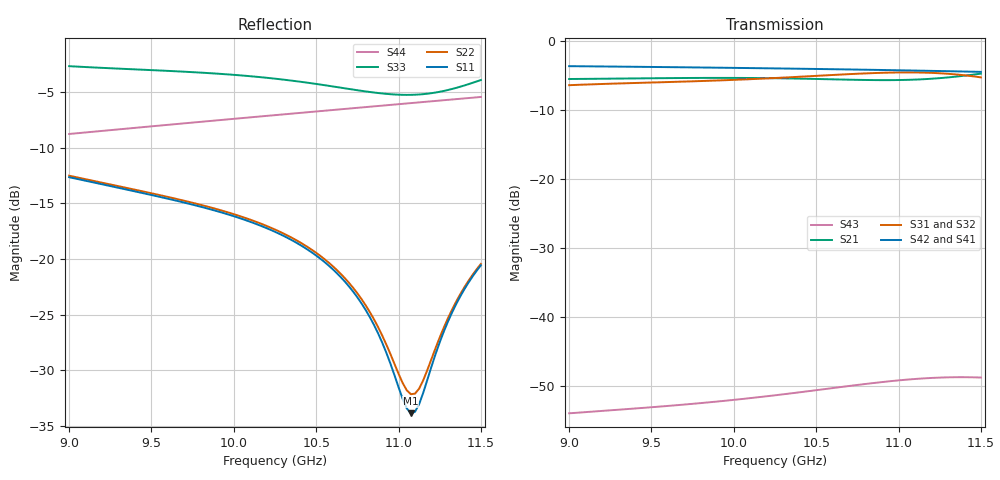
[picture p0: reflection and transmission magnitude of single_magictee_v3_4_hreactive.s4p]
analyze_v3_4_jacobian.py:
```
#!/usr/bin/env python3
"""
Analyze the v3.4 9-case central-difference program.

The H/even block uses the parity basis:
    c+ = (P1 + P2)/sqrt(2)
    c- = (P1 - P2)/sqrt(2)
    H  = P3
    E  = P4

Feature vector:
    F = [Re(Gamma0), Im(Gamma0), Re(Gamma1), Im(Gamma1)]^T

where Gamma0 is c+ reflection at f0=10.25 GHz and Gamma1 is the centered
frequency derivative. The script forms the 4x4 parameter Jacobian, reports
raw and step-normalized SVDs, and computes a local Newton suggestion without
automatically changing geometry.
"""

from __future__ import annotations

import argparse
import json
import math
from pathlib import Path

import numpy as np


CENTER = {
    "h_throat_a": 20.4,
    "h_throat_len": 5.5,
    "h_cap_height": 9.0,
    "h_terminal_ridge_w": 4.572,
}

DELTAS = {
    "h_throat_a": 0.4,
    "h_throat_len": 1.0,
    "h_cap_height": 0.4,
    "h_terminal_ridge_w": 0.5,
}

PARAMS = list(CENTER)

W = np.array(
    [
        [1 / math.sqrt(2), 1 / math.sqrt(2), 0, 0],
        [1 / math.sqrt(2), -1 / math.sqrt(2), 0, 0],
        [0, 0, 1, 0],
        [0, 0, 0, 1],
    ],
    dtype=complex,
)


def parse_touchstone_ma(path: Path):
    numbers = []
    option = ""
    for raw in path.read_text(encoding="utf-8", errors="replace").splitlines():
        line = raw.split("!", 1)[0].strip()
        if not line:
            continue
        if line.startswith("#"):
            option = line.upper()
            continue
        numbers.extend(float(token) for token in line.split())

    if "MA" not in option:
        raise ValueError(f"Only magnitude-angle Touchstone is supported: {option}")

    record_size = 1 + 2 * 16
    if len(numbers) % record_size:
        raise ValueError(f"Unexpected numeric count in {path}")

    records = []
    for start in range(0, len(numbers), record_size):
        row = numbers[start : start + record_size]
        freq = row[0]
        s = np.zeros((4, 4), dtype=complex)
        k = 1
        for r in range(4):
            for c in range(4):
                mag = row[k]
                ang = math.radians(row[k + 1])
                s[r, c] = mag * np.exp(1j * ang)
                k += 2
        records.append((freq, W @ s @ W.T))
    return records


def nearest(records, target):
    return min(records, key=lambda item: abs(item[0] - target))


def db20(z):
    return 20 * np.log10(np.maximum(np.abs(z), 1e-15))


def feature(records, f0, df):
    fm, sm = nearest(records, f0 - df)
    fz, sz = nearest(records, f0)
    fp, sp = nearest(records, f0 + df)

    if abs(fz - f0) > 1e-6:
        raise ValueError(f"Center frequency {f0} GHz not found; nearest is {fz}")
    if abs((fp - fm) - 2 * df) > 1e-6:
        raise ValueError(
            f"Expected derivative points at {f0-df}/{f0+df} GHz, got {fm}/{fp}"
        )

    gamma0 = sz[0, 0]
    gamma1 = (sp[0, 0] - sm[0, 0]) / (fp - fm)
    return np.array(
        [gamma0.real, gamma0.imag, gamma1.real, gamma1.imag],
        dtype=float,
    )


def case_metrics(records):
    cp_rl = []
    cm_rl = []
    th = []
    te = []
    leaks = []

    for freq, sm in records:
        cp_rl.append((freq, -float(db20(sm[0, 0]))))
        cm_rl.append((freq, -float(db20(sm[1, 1]))))
        th.append((freq, float(db20(sm[2, 0]))))
        te.append((freq, float(db20(sm[3, 1]))))
        forbidden = np.array(
            [sm[0, 1], sm[0, 3], sm[1, 2], sm[2, 3]],
            dtype=complex,
        )
        leaks.append((freq, float(np.max(db20(forbidden)))))

    worst_cp = min(cp_rl, key=lambda x: x[1])
    worst_cm = min(cm_rl, key=lambda x: x[1])
    min_th = min(th, key=lambda x: x[1])
    min_te = min(te, key=lambda x: x[1])
    worst_leak = max(leaks, key=lambda x: x[1])

    return {
        "c_plus_worst_return_loss_dB": worst_cp[1],
        "c_plus_worst_return_loss_freq_GHz": worst_cp[0],
        "c_minus_worst_return_loss_dB": worst_cm[1],
        "c_minus_worst_return_loss_freq_GHz": worst_cm[0],
        "c_plus_to_H_min_coupling_dB": min_th[1],
        "c_plus_to_H_min_coupling_freq_GHz": min_th[0],
        "c_minus_to_E_min_coupling_dB": min_te[1],
        "c_minus_to_E_min_coupling_freq_GHz": min_te[0],
        "worst_forbidden_coupling_dB": worst_leak[1],
        "worst_forbidden_coupling_freq_GHz": worst_leak[0],
        "tH_min_linear": 10 ** (min_th[1] / 20.0),
    }


def svd_summary(matrix):
    s = np.linalg.svd(matrix, compute_uv=False)
    ratio = float(s[-1] / s[0]) if s[0] > 0 else 0.0
    return {
        "singular_values": [float(x) for x in s],
        "sigma_min_over_sigma_max": ratio,
        "condition_number": float(s[0] / s[-1]) if s[-1] > 0 else math.inf,
        "numerical_rank": int(np.linalg.matrix_rank(matrix)),
        "effective_rank_5pct": int(np.sum(s >= 0.05 * s[0])) if s[0] else 0,
        "effective_rank_1pct": int(np.sum(s >= 0.01 * s[0])) if s[0] else 0,
    }


def find_case_s4p(root: Path, name: str) -> Path:
    return root / name / "single_magictee_v3_4_hreactive.s4p"


def parse_args():
    here = Path(__file__).resolve().parent
    repo_root = here.parent
    parser = argparse.ArgumentParser()
    parser.add_argument(
        "--root",
        type=Path,
        default=here / "output_v3_4_jacobian",
        help="Directory containing case subdirectories.",
    )
    parser.add_argument(
        "--center-s4p",
        type=Path,
        default=(
            repo_root
            / "hfss"
            / "results"
            / "v3_4_H_reactive_cell_latest"
            / "single_magictee_v3_4_hreactive.s4p"
        ),
        help="Fallback committed center result if root/center is absent.",
    )
    parser.add_argument("--f0", type=float, default=10.25)
    parser.add_argument("--df", type=float, default=0.025)
    parser.add_argument(
        "--trust-fraction",
        type=float,
        default=0.75,
        help="Clip each normalized Newton coordinate to +/- this value.",
    )
    parser.add_argument(
        "--output",
        type=Path,
        default=None,
        help="JSON output path; default is ROOT/jacobian_analysis.json.",
    )
    return parser.parse_args()


def main():
    args = parse_args()
    root = args.root.resolve()
    center_fallback = args.center_s4p.resolve()
    output = (
        args.output.resolve()
        if args.output is not None
        else root / "jacobian_analysis.json"
    )

    records = {}
    paths = {}

    center_path = find_case_s4p(root, "center")
    if not center_path.exists():
        center_path = center_fallback
    if not center_path.exists():
        raise FileNotFoundError(
            "No center S4P found in the run root and fallback center is missing"
        )

    paths["center"] = center_path
    records["center"] = parse_touchstone_ma(center_path)

    for param in PARAMS:
        for sign in ("minus", "plus"):
            name = f"{param}_{sign}"
            path = find_case_s4p(root, name)
            if not path.exists():
                raise FileNotFoundError(f"Missing Jacobian case: {path}")
            paths[name] = path
            records[name] = parse_touchstone_ma(path)

    features = {
        name: feature(rec, args.f0, args.df)
        for name, rec in records.items()
    }

    jac = np.zeros((4, 4), dtype=float)
    for col, param in enumerate(PARAMS):
        fp = features[f"{param}_plus"]
        fm = features[f"{param}_minus"]
        jac[:, col] = (fp - fm) / (2.0 * DELTAS[param])

    delta_vec = np.array([DELTAS[p] for p in PARAMS], dtype=float)
    jac_step = jac @ np.diag(delta_vec)

    f_center = features["center"]
    q_newton = -np.linalg.pinv(jac_step) @ f_center
    q_trust = np.clip(q_newton, -args.trust_fraction, args.trust_fraction)
    dp_trust = q_trust * delta_vec
    p_trust = np.array([CENTER[p] for p in PARAMS]) + dp_trust

    metrics = {
        name: case_metrics(rec)
        for name, rec in records.items()
    }

    report = {
        "feature_definition": [
            "Re(Gamma_H_even(f0))",
            "Im(Gamma_H_even(f0))",
            "Re(dGamma_H_even/df at f0)",
            "Im(dGamma_H_even/df at f0)",
        ],
        "f0_GHz": args.f0,
        "df_GHz": args.df,
        "parameters": PARAMS,
        "center_parameters_mm": CENTER,
        "central_difference_half_steps_mm": DELTAS,
        "center_feature": [float(x) for x in f_center],
        "jacobian_per_mm": jac.tolist(),
        "step_normalized_jacobian": jac_step.tolist(),
        "raw_svd": svd_summary(jac),
        "step_normalized_svd": svd_summary(jac_step),
        "newton_step_in_halfstep_units": [float(x) for x in q_newton],
        "trust_limited_step_in_halfstep_units": [float(x) for x in q_trust],
        "trust_limited_parameter_delta_mm": {
            p: float(dp_trust[i]) for i, p in enumerate(PARAMS)
        },
        "trust_limited_candidate_mm": {
            p: float(p_trust[i]) for i, p in enumerate(PARAMS)
        },
        "case_metrics": metrics,
        "case_paths": {name: str(path) for name, path in paths.items()},
        "structural_gates": {
            "tH_min_required": 0.85,
            "tH_min_preferred": 0.90,
            "forbidden_coupling_max_dB": -30.0,
        },
    }

    output.parent.mkdir(parents=True, exist_ok=True)
    output.write_text(json.dumps(report, indent=2), encoding="utf-8")

    svd = report["step_normalized_svd"]
    print("Step-normalized singular values:", svd["singular_values"])
    print("sigma_min/sigma_max:", svd["sigma_min_over_sigma_max"])
    print("condition number:", svd["condition_number"])
    print("numerical rank:", svd["numerical_rank"])
    print("effective rank @5%:", svd["effective_rank_5pct"])
    print("effective rank @1%:", svd["effective_rank_1pct"])
    print("center feature:", report["center_feature"])
    print("trust-limited candidate [mm]:")
    for param in PARAMS:
        print(f"  {param}: {report['trust_limited_candidate_mm'][param]:.6g}")
    print("Report:", output)


if __name__ == "__main__":
    main()
```
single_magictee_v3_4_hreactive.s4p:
! Touchstone file exported from HFSS 2025.2.4
!  File:  C:/Users/chaoy/Documents/single_magictee_v3_4_hreactive_latest/single_magictee_v3_4_hreactive.aedt
!  Generated:  02:33:53 PM Sep 22, 2026
!  Design:  SingleMagicT_v3_4_HReactiveCell
!  Project:  single_magictee_v3_4_hreactive
! Variables:
!  f_adapt = 10.2GHz
!  h_cap_height = 9mm
!  h_cap_len = 2.5mm
!  h_terminal_ridge_w = 4.572mm
!  h_throat_a = 20.4mm
!  h_throat_len = 5.5mm
!  ridge_g1 = 7.672mm
!  ridge_g2 = 5.8mm
!  ridge_l1 = 9.872mm
!  ridge_l2 = 8.857mm
!  ridge_w = 4.572mm
!  terminal_ridge_len = 7.5mm
!  wg_a = 22.86mm
!  wg_b = 10.16mm
!Data is not renormalized
# GHz S MA
! Terminal data exported
! Port[1] = P1_CollinearMinusX
! Port[2] = P2_CollinearPlusX
! Port[3] = P3_HArm_Ridged
! Port[4] = P4_EArm
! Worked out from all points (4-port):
!   101 points, 9 GHz to 11.5 GHz, reference per port
!   strongest paths, dB at 9 GHz, 9.625 GHz, 10.25 GHz, 10.88 GHz, 11.5 GHz:
!     S42: -3.6, -3.8, -4.0, -4.2, -4.5
!     S41: -3.6, -3.8, -4.0, -4.2, -4.5
!     S31: -6.4, -5.9, -5.4, -4.6, -5.3
!     S32: -6.4, -5.9, -5.4, -4.6, -5.3
!     S21: -5.5, -5.4, -5.4, -5.7, -4.7
!     S43: -54.0, -52.8, -51.4, -49.5, -48.8
!   lowest |S11| = -33.9 dB at 11.07 GHz (marker M1), VSWR 1.04
!   |S11| at or under -10 dB: start of sweep to end of sweep
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9  0.2333 150.2  0.5311 -174.7  0.4791 61.5  0.6588 46.0
   0.5311 -174.7  0.2369 150.1  0.4784 61.2  0.658 -134.3
   0.4791 61.5  0.4784 61.2  0.7359 128.0  0.002004 -72.0
   0.6588 46.0  0.658 -134.3  0.002004 -72.0  0.3648 -115.4
11.075  0.02026 -20.8  0.5246 -24.8  0.5927 132.3  0.6108 -177.6
        0.5246 -24.8  0.02469 -22.1  0.5911 131.9  0.6122 2.0
        0.5927 132.3  0.5911 131.9  0.547 108.9  0.003535 -21.1
        0.6108 -177.6  0.6122 2.0  0.003535 -21.1  0.5022 29.4
11.5  0.09373 -2.3  0.5811 -60.5  0.5456 63.9  0.5965 139.0
      0.5811 -60.5  0.09506 -5.2  0.5437 63.5  0.5982 -41.5
      0.5456 63.9  0.5437 63.5  0.6377 0.8  0.00364 -91.1
      0.5965 139.0  0.5982 -41.5  0.00364 -91.1  0.5351 -13.6
